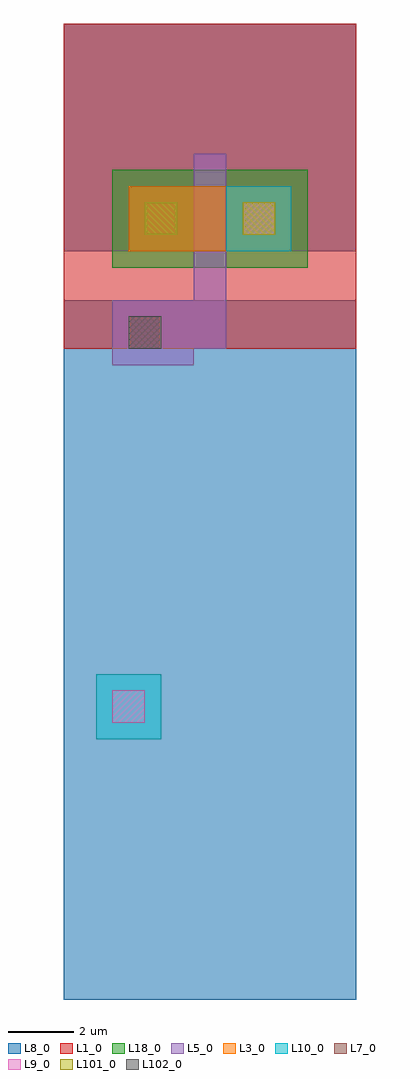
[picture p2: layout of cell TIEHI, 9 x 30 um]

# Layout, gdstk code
import gdstk
lib = gdstk.Library(unit=1e-6, precision=1e-09)
def R(c, l, rs):  # rectangles x0, y0, x1, y1
    for r in rs: c.add(gdstk.rectangle(r[:2], r[2:], *l))
L1_0 = (1, 0)
L3_0 = (3, 0)
L5_0 = (5, 0)
L7_0 = (7, 0)
L8_0 = (8, 0)
L9_0 = (9, 0)
L10_0 = (10, 0)
L18_0 = (18, 0)
L101_0 = (101, 0)
L102_0 = (102, 0)

tiehi = lib.new_cell('TIEHI')
R(tiehi, L1_0, [(0,20,9,30)])
R(tiehi, L3_0, [(2,23,7,25)])
R(tiehi, L5_0, [(1.5,19.5,4,21.5), (4,20,5,26)])
R(tiehi, L7_0, [(2,20,3,21), (2.5,23.5,3.5,24.5), (5.5,23.5,6.5,24.5)])
R(tiehi, L8_0, [(0,0,9,21.5), (0,23,9,30), (5,23,7,25)])
R(tiehi, L9_0, [(1.5,8.5,2.5,9.5), (5.5,23.5,6.5,24.5)])
R(tiehi, L10_0, [(1,8,3,10), (5,23,7,25)])
R(tiehi, L18_0, [(1.5,22.5,7.5,25.5)])
R(tiehi, L101_0, [(2.5,23.5,3.5,24.5), (5.5,23.5,6.5,24.5)])
R(tiehi, L102_0, [(2,20,3,21)])

lib.write_gds('TIEHI.gds')
